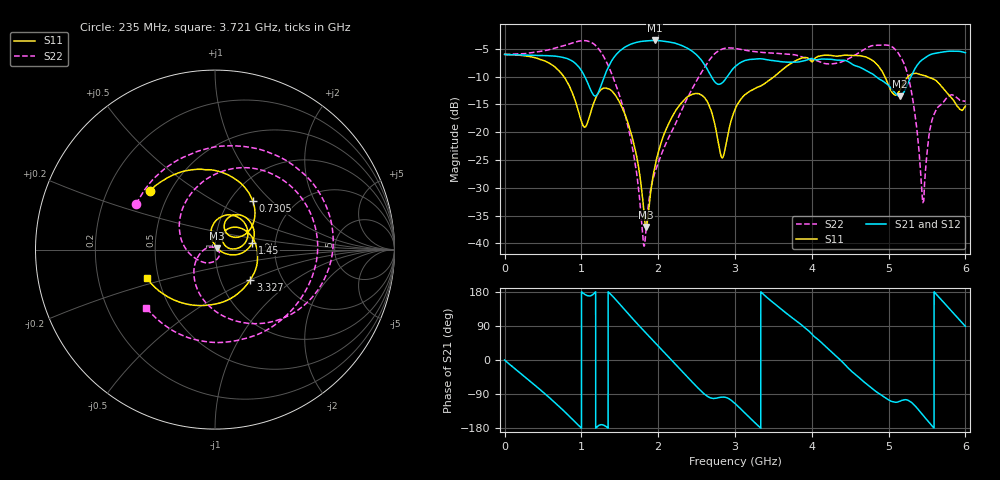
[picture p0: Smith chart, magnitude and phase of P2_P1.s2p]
! P2-P1  26-Dec-22  13:01:13
! Ref Plane: 0.000 mm
# MHZ S MA R  50
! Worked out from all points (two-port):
!   10001 points, 1 MHz to 6 GHz, reference 50 ohm
!   highest |S21| = -3.51 dB at 1.953 GHz (marker M1); lowest = -13.6 dB at 5.148 GHz (marker M2)
!   |S21| within 3 dB of the highest: start of sweep to 742.1 MHz; 1.427 GHz to 2.53 GHz (1.103 GHz wide, 55.8 % of centre)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
!   lowest |S11| = -37.0 dB at 1.843 GHz (marker M3), VSWR 1.03, Z = 51.1 + j0.928 ohm
!   |S11| at or under -10 dB: 772 MHz to 3.511 GHz (2.739 GHz wide, 128 % of centre); 4.951 GHz to 5.255 GHz (303.7 MHz wide, 5.95 % of centre); 5.501 GHz to end of sweep
!   |S22| runs from -40.5 to -3.5 dB; largest |S21 - S12| = 0.0088
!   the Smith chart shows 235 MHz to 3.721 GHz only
!   S11 on the Smith chart (normalised r, x): 235 MHz: 0.39, +0.33; 730.5 MHz: 1.26, +0.78; 1.45 GHz: 1.52, +0.12; 3.327 GHz: 1.39, -0.50; 3.721 GHz: 0.43, -0.16
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1  0.5008 179.8  0.5001 0.0  0.4998 -0.2  0.5 179.8
234.961  0.4889 137.9  0.4945 -39.6  0.4942 -39.8  0.5068 150.0
730.4784  0.3431 52.4  0.4742 -126.2  0.4742 -126.4  0.5871 80.1
1001.033  0.1247 33.8  0.358 -179.8  0.3572 -179.9  0.6633 26.0
1244.593  0.2367 54.7  0.2491 -171.2  0.2494 -170.8  0.5384 -45.1
1450.358  0.2113 10.6  0.4955 158.7  0.4973 158.9  0.2663 -108.0
1843.293  0.01408 40.2  0.6612 70.5  0.6614 70.6  0.01374 6.2
1953.075  0.04737 105.9  0.6678 47.0  0.6643 47.1  0.04253 -56.5
2001.067  0.06566 106.5  0.6658 36.6  0.6638 36.9  0.05305 -75.1
2404.199  0.2126 65.0  0.5564 -49.7  0.5599 -49.3  0.2182 154.1
2708.949  0.1415 5.5  0.3025 -101.3  0.3041 -101.8  0.4852 70.2
2836.127  0.05874 33.4  0.2783 -97.9  0.2761 -97.8  0.5595 32.7
3000.5  0.16 51.2  0.388 -114.8  0.3822 -114.2  0.5667 -9.2
3327.445  0.2589 -40.3  0.4571 -178.3  0.4546 -177.6  0.5224 -72.6
3720.98  0.4119 -157.3  0.4254 115.2  0.424 115.3  0.5012 -139.7
4000.533  0.4295 150.3  0.4597 68.1  0.4605 68.6  0.445 178.5
4404.266  0.4899 108.7  0.4436 -6.3  0.4442 -6.0  0.4331 136.9
5000.567  0.2643 57.3  0.2628 -105.4  0.2622 -105.5  0.6036 31.7
5147.542  0.2385 84.4  0.2101 -109.0  0.2096 -109.7  0.4885 -13.0
5446.292  0.325 66.8  0.4526 -145.3  0.4523 -144.8  0.02325 154.6
5607.065  0.2948 56.1  0.5122 176.6  0.5084 176.9  0.1524 38.5
6000  0.1716 79.5  0.5182 88.9  0.5187 88.5  0.1893 -80.9
